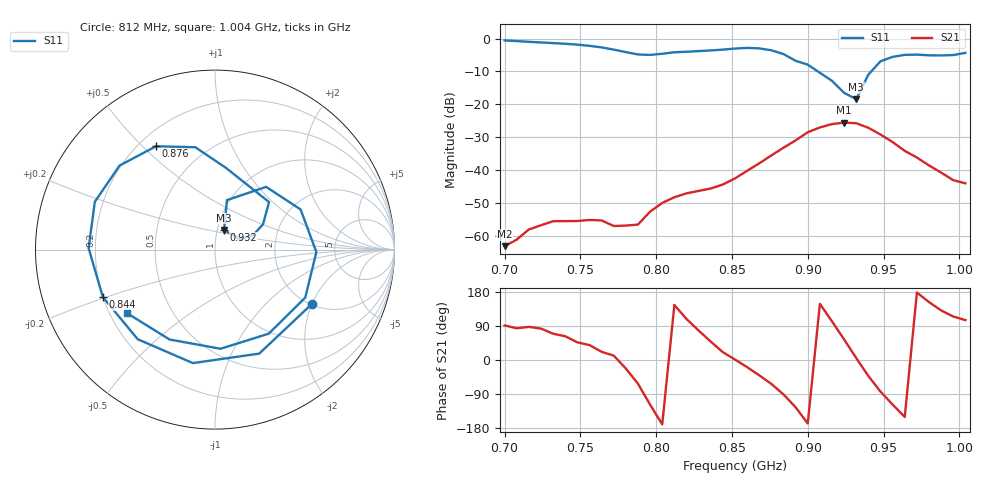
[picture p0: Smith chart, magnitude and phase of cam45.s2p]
# Hz S RI R 50
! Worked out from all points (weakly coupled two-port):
!   39 points, 700 MHz to 1.004 GHz, reference 50 ohm
!   highest |S21| = -25.53 dB at 924 MHz (marker M1); lowest = -63.0 dB at 700 MHz (marker M2)
!   lowest |S11| = -18.4 dB at 932 MHz (marker M3), VSWR 1.27, Z = 53.9 + j11.9 ohm
!   |S11| at or under -10 dB: 906.7 MHz to 941.9 MHz (35.14 MHz wide, 3.8 % of centre)
!   S12 and S22 are empty: the file has one direction only
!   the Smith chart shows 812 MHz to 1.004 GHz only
!   S11 on the Smith chart (normalised r, x): 812 MHz: 2.02, -1.99; 844 MHz: 0.20, -0.20; 876 MHz: 0.27, +0.55; 932 MHz: 1.08, +0.24; 1.004 GHz: 0.27, -0.30
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7e8  0.7698 0.5298  -1.44e-05 0.000706  0 0  0 0
7.24e8  0.8309 -0.262  0.000183 0.00145  0 0  0 0
7.4e8  0.4459 -0.7029  0.000779 0.00151  0 0  0 0
7.56e8  -0.1972 -0.7487  0.00136 0.00112  0 0  0 0
7.72e8  -0.6523 -0.1879  0.0014 0.000287  0 0  0 0
7.8e8  -0.5763 0.2323  0.00134 -0.000556  0 0  0 0
7.88e8  -0.2208 0.5289  0.000689 -0.00134  0 0  0 0
7.96e8  0.2618 0.4994  -0.0011 -0.00208  0 0  0 0
8.04e8  0.5685 0.1442  -0.00315 -0.000565  0 0  0 0
8.12e8  0.5382 -0.3044  -0.0032 0.00223  0 0  0 0
8.28e8  -0.1232 -0.6323  0.00103 0.00476  0 0  0 0
8.44e8  -0.6249 -0.2644  0.0057 0.00214  0 0  0 0
8.52e8  -0.7041 0.00779  0.00754 0.000155  0 0  0 0
8.76e8  -0.3287 0.5757  0.00758 -0.015  0 0  0 0
9e8  0.3012 0.2649  -0.0369 -0.00816  0 0  0 0
9.08e8  0.2675 0.141  -0.0379 0.0236  0 0  0 0
9.24e8  0.138 0.0578  0.0309 0.043  0 0  0 0
9.32e8  0.0504 0.109  0.0516 0.00456  0 0  0 0
9.48e8  0.2852 0.3494  0.00394 -0.0347  0 0  0 0
9.56e8  0.4769 0.2236  -0.0124 -0.0238  0 0  0 0
9.8e8  0.2996 -0.4683  -0.0105 0.00542  0 0  0 0
1.004e9  -0.492 -0.3528  -0.00167 0.00612  0 0  0 0
